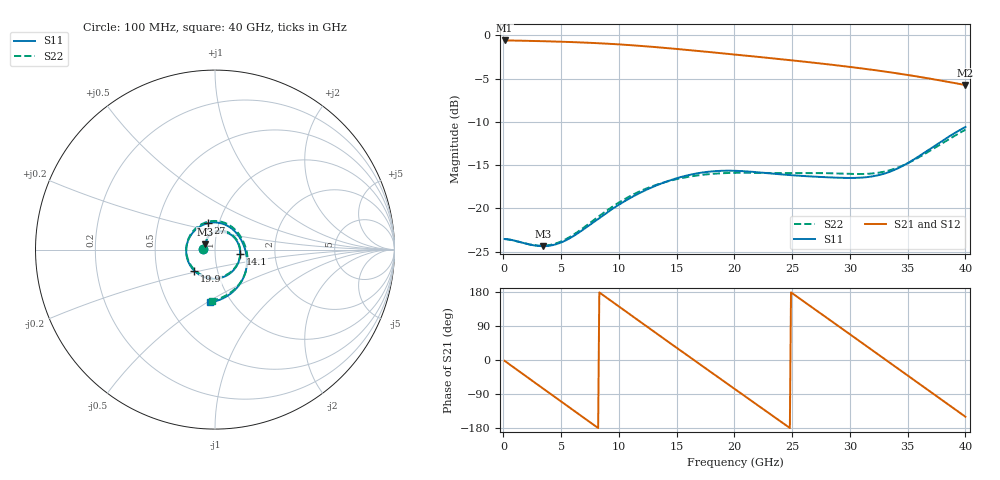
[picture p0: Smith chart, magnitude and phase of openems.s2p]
! D_s8_stitch_0p5: L1 (ref L2) → L8 (ref L7), one GND via at 0.5 mm
! stackup: 8-layer 1.6 mm FR-4 (generic)
! ports: 1, 2
! openEMS 0.37.0, staircase, fine mesh (dfine 0.0175 mm), 1645644 cells
# Hz S RI R 50
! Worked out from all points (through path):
!   400 points, 100 MHz to 40 GHz, reference 50 ohm
!   highest |S21| = -0.60 dB at 100 MHz (marker M1); lowest = -5.8 dB at 40 GHz (marker M2)
!   group delay of S21, straight-line fit = 60.3 ps
!   lowest |S11| = -24.4 dB at 3.4 GHz (marker M3), VSWR 1.13, Z = 44.9 + j2.57 ohm
!   |S11| at or under -10 dB: start of sweep to end of sweep
!   |S22| runs from -24.3 to -10.9 dB; largest |S21 - S12| = 0.0028
!   S11 on the Smith chart (normalised r, x): 100 MHz: 0.88, +0.00; 14.1 GHz: 1.32, -0.07; 19.9 GHz: 0.77, -0.19; 27 GHz: 0.89, +0.27; 40 GHz: 0.80, -0.52
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1e8  -0.0664 0.0013  0.9323 -0.0359  0.9323 -0.0359  -0.0663 0.00133
1.6e9  -0.0608 0.0173  0.7598 -0.536  0.7598 -0.536  -0.0607 0.0178
3.4e9  -0.0532 0.0285  0.2452 -0.8909  0.2451 -0.8909  -0.0532 0.0295
5e9  -0.0501 0.039  -0.3078 -0.8644  -0.3078 -0.8643  -0.0501 0.0404
6.8e9  -0.0441 0.06  -0.7783 -0.4684  -0.7782 -0.4683  -0.0442 0.0619
8.1e9  -0.0288 0.081  -0.8993 -0.041  -0.8991 -0.041  -0.029 0.0833
9.5e9  0.0056 0.0997  -0.7856 0.4177  -0.7854 0.4176  0.00524 0.1026
1.15e10  0.0808 0.0883  -0.2739 0.8275  -0.2741 0.8273  0.0805 0.0924
1.34e10  0.1362 0.0139  0.3338 0.7834  0.3334 0.7838  0.1364 0.0192
1.41e10  0.1404 -0.0248  0.5229 0.6622  0.5226 0.6627  0.141 -0.0192
1.68e10  0.0535 -0.15  0.8062 -0.0963  0.8071 -0.0962  0.0556 -0.1445
1.99e10  -0.1143 -0.1187  0.217 -0.7441  0.2167 -0.7452  -0.1125 -0.1141
2.01e10  -0.1218 -0.1107  0.1599 -0.756  0.1595 -0.757  -0.1202 -0.1061
2.18e10  -0.1589 -0.0312  -0.3147 -0.6839  -0.3157 -0.6841  -0.158 -0.0265
2.37e10  -0.1467 0.0577  -0.666 -0.3008  -0.6665 -0.3001  -0.1468 0.063
2.67e10  -0.0498 0.1443  -0.5291 0.4521  -0.5287 0.4521  -0.0512 0.1516
2.7e10  -0.0372 0.1476  -0.4722 0.5064  -0.4718 0.5064  -0.0387 0.1552
2.98e10  0.0764 0.1287  0.2003 0.6274  0.1999 0.6274  0.0751 0.1392
3.17e10  0.13 0.0787  0.5439 0.3267  0.5437 0.3274  0.1297 0.0911
3.34e10  0.1606 0.0222  0.6084 -0.0643  0.6091 -0.0634  0.1616 0.0359
3.67e10  0.1666 -0.1359  0.118 -0.5522  0.1193 -0.5537  0.1719 -0.1211
4e10  -0.0255 -0.2939  -0.4449 -0.2605  -0.4474 -0.2617  -0.0166 -0.284
